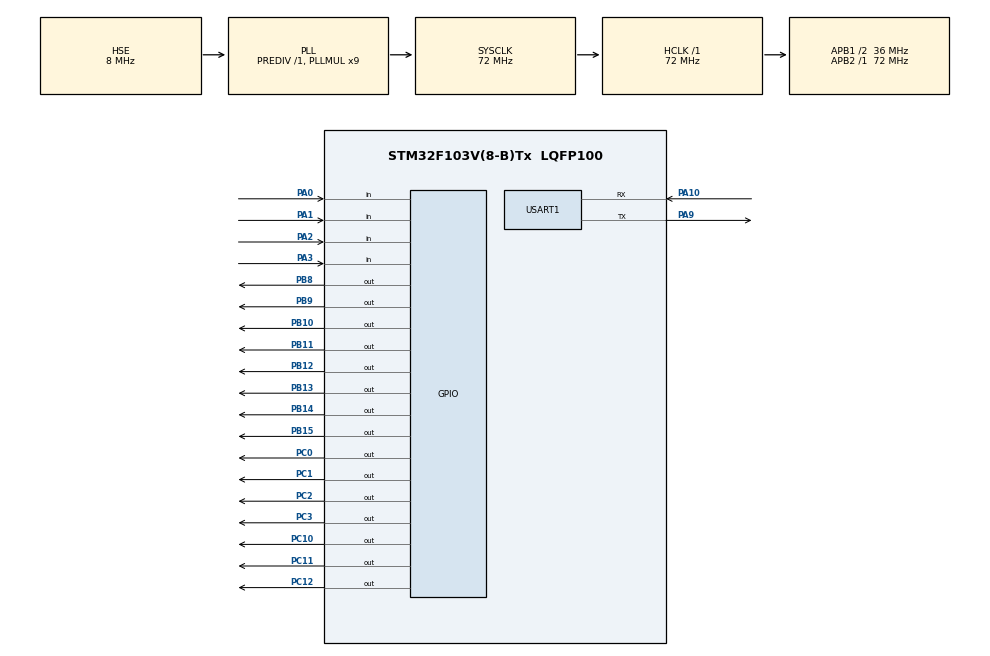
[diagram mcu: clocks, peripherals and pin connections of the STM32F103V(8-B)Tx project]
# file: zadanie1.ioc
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Mcu.Family=STM32F1
Mcu.Name=STM32F103V(8-B)Tx
Mcu.Package=LQFP100
NVIC.PriorityGroup=NVIC_PRIORITYGROUP_4
NVIC.USART1_IRQn=true\:0\:0\:false\:false\:true\:true\:true\:true
OSC_IN.Mode=HSE-External-Oscillator
OSC_IN.Signal=RCC_OSC_IN
OSC_OUT.Mode=HSE-External-Oscillator
OSC_OUT.Signal=RCC_OSC_OUT
PA0-WKUP.Signal=GPIO_Input
PA1.Signal=GPIO_Input
PA10.Mode=Asynchronous
PA10.Signal=USART1_RX
PA13.Mode=JTAG_5_pins
PA13.Signal=SYS_JTMS-SWDIO
PA14.Mode=JTAG_5_pins
PA14.Signal=SYS_JTCK-SWCLK
PA15.Mode=JTAG_5_pins
PA15.Signal=SYS_JTDI
PA2.Signal=GPIO_Input
PA3.Signal=GPIO_Input
PA9.Mode=Asynchronous
PA9.Signal=USART1_TX
PB10.Signal=GPIO_Output
PB11.Signal=GPIO_Output
PB12.Signal=GPIO_Output
PB13.Signal=GPIO_Output
PB14.Signal=GPIO_Output
PB15.Signal=GPIO_Output
PB3.Mode=JTAG_5_pins
PB3.Signal=SYS_JTDO-TRACESWO
PB4.Mode=JTAG_5_pins
PB4.Signal=SYS_NJTRST
PB8.Signal=GPIO_Output
PB9.Signal=GPIO_Output
PC0.Signal=GPIO_Output
PC1.Signal=GPIO_Output
PC10.Signal=GPIO_Output
PC11.Signal=GPIO_Output
PC12.Signal=GPIO_Output
PC14-OSC32_IN.Mode=LSE-External-Oscillator
PC14-OSC32_IN.Signal=RCC_OSC32_IN
PC15-OSC32_OUT.Mode=LSE-External-Oscillator
PC15-OSC32_OUT.Signal=RCC_OSC32_OUT
PC2.Signal=GPIO_Output
PC3.Signal=GPIO_Output
ProjectManager.HeapSize=0x200
ProjectManager.StackSize=0x400
ProjectManager.TargetToolchain=MDK-ARM V5.32
RCC.AHBFreq_Value=72000000
RCC.APB1CLKDivider=RCC_HCLK_DIV2
RCC.APB1Freq_Value=36000000
RCC.APB1TimFreq_Value=72000000
RCC.APB2Freq_Value=72000000
RCC.APB2TimFreq_Value=72000000
RCC.HCLKFreq_Value=72000000
RCC.PLLMUL=RCC_PLL_MUL9
RCC.PLLSourceVirtual=RCC_PLLSOURCE_HSE
RCC.SYSCLKFreq_VALUE=72000000
RCC.SYSCLKSource=RCC_SYSCLKSOURCE_PLLCLK
RCC.USBFreq_Value=72000000
USART1.VirtualMode=VM_ASYNC
board=custom

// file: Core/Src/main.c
/* USER CODE BEGIN Header */
/**
  ******************************************************************************
  * @file           : main.c
  * @brief          : Main program body
  ******************************************************************************
  * @attention
  *
  * Copyright (c) 2022 STMicroelectronics.
  * All rights reserved.
  *
  * This software is licensed under terms that can be found in the LICENSE file
  * in the root directory of this software component.
  * If no LICENSE file comes with this software, it is provided AS-IS.
  *
  ******************************************************************************
  */
/* USER CODE END Header */
#include "main.h"

/* USER CODE BEGIN Includes */
#include "lcd4bit.h"
#include "stdio.h"
/* USER CODE END Includes */

/* USER CODE BEGIN PD */
#define PA0 *((volatile unsigned long*) 0x42210100)
#define PA1 *((volatile unsigned long*) 0x42210104)
#define PA2 *((volatile unsigned long*) 0x42210108)
#define PA3 *((volatile unsigned long*) 0x4221010C)

#ifdef __GNUC__
#define PUTCHAR_PROTOTYPE int __io_putchar(int ch)
#else
#define PUTCHAR_PROTOTYPE int fputc(int ch, FILE *f)
#endif

/* USER CODE END PD */

 UART_HandleTypeDef huart1;

/* USER CODE BEGIN PV */
PUTCHAR_PROTOTYPE
{
  HAL_UART_Transmit(&huart1, (uint8_t *)&ch, 1, HAL_MAX_DELAY);
  return ch;
}

char RXBuf[10];
char Z;
int KOM=0;
int Lr=0;
int NN;
Lcd_PortType ports[] = {GPIOC, GPIOC, GPIOC, GPIOC};
Lcd_PinType pins[] = {GPIO_PIN_3, GPIO_PIN_2, GPIO_PIN_1, GPIO_PIN_0};
Lcd_HandleTypeDef lcd;
/* USER CODE END PV */

void SystemClock_Config(void);
static void MX_GPIO_Init(void);
static void MX_USART1_UART_Init(void);

int main(void)
{

  /* MCU Configuration--------------------------------------------------------*/

  /* Reset of all peripherals, Initializes the Flash interface and the Systick. */
  HAL_Init();

  /* Configure the system clock */
  SystemClock_Config();

  /* Initialize all configured peripherals */
  MX_GPIO_Init();
  MX_USART1_UART_Init();
  /* USER CODE BEGIN 2 */
	lcd = Lcd_create(ports, pins, GPIOC, GPIO_PIN_12, GPIOC, GPIO_PIN_10, LCD_4_BIT_MODE);
	Lcd_string(&lcd,"Hello!");
	HAL_UART_Receive_IT(&huart1,(uint8_t*) &Z,1);
  /* USER CODE END 2 */

  /* Infinite loop */
  /* USER CODE BEGIN WHILE */
  while (1)
  {
		if (PA0==GPIO_PIN_RESET)
			{
			printf("SW_0 \n");
			while(PA0==GPIO_PIN_RESET);
			};
		if (PA1==GPIO_PIN_RESET)
			{
			printf("SW_1 \n");
			while(PA1==GPIO_PIN_RESET);
			};
		if (PA2==GPIO_PIN_RESET)
			{
			printf("SW_2 \n");
			while(PA2==GPIO_PIN_RESET);
			};
		if (PA3==GPIO_PIN_RESET)
			{
			printf("SW_3 \n");
			while(PA3==GPIO_PIN_RESET);
			};
    /* USER CODE END WHILE */

  }
}

void SystemClock_Config(void)
{
  RCC_OscInitTypeDef RCC_OscInitStruct = {0};
  RCC_ClkInitTypeDef RCC_ClkInitStruct = {0};

  /** Initializes the RCC Oscillators according to the specified parameters
  * in the RCC_OscInitTypeDef structure.
  */
  RCC_OscInitStruct.OscillatorType = RCC_OSCILLATORTYPE_HSE;
  RCC_OscInitStruct.HSEState = RCC_HSE_ON;
  RCC_OscInitStruct.HSEPredivValue = RCC_HSE_PREDIV_DIV1;
  RCC_OscInitStruct.HSIState = RCC_HSI_ON;
  RCC_OscInitStruct.PLL.PLLState = RCC_PLL_ON;
  RCC_OscInitStruct.PLL.PLLSource = RCC_PLLSOURCE_HSE;
  RCC_OscInitStruct.PLL.PLLMUL = RCC_PLL_MUL9;
  if (HAL_RCC_OscConfig(&RCC_OscInitStruct) != HAL_OK)
  {
    Error_Handler();
  }

  /** Initializes the CPU, AHB and APB buses clocks
  */
  RCC_ClkInitStruct.ClockType = RCC_CLOCKTYPE_HCLK|RCC_CLOCKTYPE_SYSCLK
                              |RCC_CLOCKTYPE_PCLK1|RCC_CLOCKTYPE_PCLK2;
  RCC_ClkInitStruct.SYSCLKSource = RCC_SYSCLKSOURCE_PLLCLK;
  RCC_ClkInitStruct.AHBCLKDivider = RCC_SYSCLK_DIV1;
  RCC_ClkInitStruct.APB1CLKDivider = RCC_HCLK_DIV2;
  RCC_ClkInitStruct.APB2CLKDivider = RCC_HCLK_DIV1;

  if (HAL_RCC_ClockConfig(&RCC_ClkInitStruct, FLASH_LATENCY_2) != HAL_OK)
  {
    Error_Handler();
  }
}

static void MX_USART1_UART_Init(void)
{

  huart1.Instance = USART1;
  huart1.Init.BaudRate = 9600;
  huart1.Init.WordLength = UART_WORDLENGTH_8B;
  huart1.Init.StopBits = UART_STOPBITS_1;
  huart1.Init.Parity = UART_PARITY_NONE;
  huart1.Init.Mode = UART_MODE_TX_RX;
  huart1.Init.HwFlowCtl = UART_HWCONTROL_NONE;
  huart1.Init.OverSampling = UART_OVERSAMPLING_16;
  if (HAL_UART_Init(&huart1) != HAL_OK)
  {
    Error_Handler();
  }

}

static void MX_GPIO_Init(void)
{
  GPIO_InitTypeDef GPIO_InitStruct = {0};

  /* GPIO Ports Clock Enable */
  __HAL_RCC_GPIOC_CLK_ENABLE();
  __HAL_RCC_GPIOA_CLK_ENABLE();
  __HAL_RCC_GPIOB_CLK_ENABLE();

  /*Configure GPIO pin Output Level */
  HAL_GPIO_WritePin(GPIOB, GPIO_PIN_10|GPIO_PIN_11|GPIO_PIN_12|GPIO_PIN_13
                          |GPIO_PIN_14|GPIO_PIN_15|GPIO_PIN_8|GPIO_PIN_9, GPIO_PIN_RESET);

  /*Configure GPIO pins : PA0 PA1 PA2 PA3 */
  GPIO_InitStruct.Pin = GPIO_PIN_0|GPIO_PIN_1|GPIO_PIN_2|GPIO_PIN_3;
  GPIO_InitStruct.Mode = GPIO_MODE_INPUT;
  GPIO_InitStruct.Pull = GPIO_NOPULL;
  HAL_GPIO_Init(GPIOA, &GPIO_InitStruct);

  /*Configure GPIO pins : PB10 PB11 PB12 PB13
                           PB14 PB15 PB8 PB9 */
  GPIO_InitStruct.Pin = GPIO_PIN_10|GPIO_PIN_11|GPIO_PIN_12|GPIO_PIN_13
                          |GPIO_PIN_14|GPIO_PIN_15|GPIO_PIN_8|GPIO_PIN_9;
  GPIO_InitStruct.Mode = GPIO_MODE_OUTPUT_PP;
  GPIO_InitStruct.Pull = GPIO_NOPULL;
  GPIO_InitStruct.Speed = GPIO_SPEED_FREQ_HIGH;
  HAL_GPIO_Init(GPIOB, &GPIO_InitStruct);

	HAL_GPIO_WritePin(GPIOC, GPIO_PIN_0|GPIO_PIN_1|GPIO_PIN_2|GPIO_PIN_3
                          |GPIO_PIN_10|GPIO_PIN_11|GPIO_PIN_12, GPIO_PIN_RESET);

	GPIO_InitStruct.Pin = GPIO_PIN_0|GPIO_PIN_1|GPIO_PIN_2|GPIO_PIN_3
                          |GPIO_PIN_10|GPIO_PIN_11|GPIO_PIN_12;
  GPIO_InitStruct.Mode = GPIO_MODE_OUTPUT_PP;
  GPIO_InitStruct.Pull = GPIO_NOPULL;
  GPIO_InitStruct.Speed = GPIO_SPEED_FREQ_HIGH;
  HAL_GPIO_Init(GPIOC, &GPIO_InitStruct);
}

/* USER CODE BEGIN 4 */
void HAL_UART_RxCpltCallback(UART_HandleTypeDef *huart)
	{
		if (Z=='L' && KOM==0)
			{
				Lr=0;
				KOM=1;
			};
		if (KOM==1)
				{
				RXBuf[Lr++]=Z;
				};
		if (Z==13 && KOM==1)
				{
				NN=(int)RXBuf[3]-48;
				if (RXBuf[5]=='F')
					HAL_GPIO_WritePin(GPIOB,(0x01<<(NN-1))*256, GPIO_PIN_RESET);
				else if (RXBuf[5]=='N')
					HAL_GPIO_WritePin(GPIOB,(0x01<<(NN-1))*256, GPIO_PIN_SET);
				KOM=0;
				};
		HAL_UART_Receive_IT(&huart1,(uint8_t*) &Z,1);
	};

/* USER CODE END 4 */

void Error_Handler(void)
{
  __disable_irq();
  while (1)
  {
  }
}
